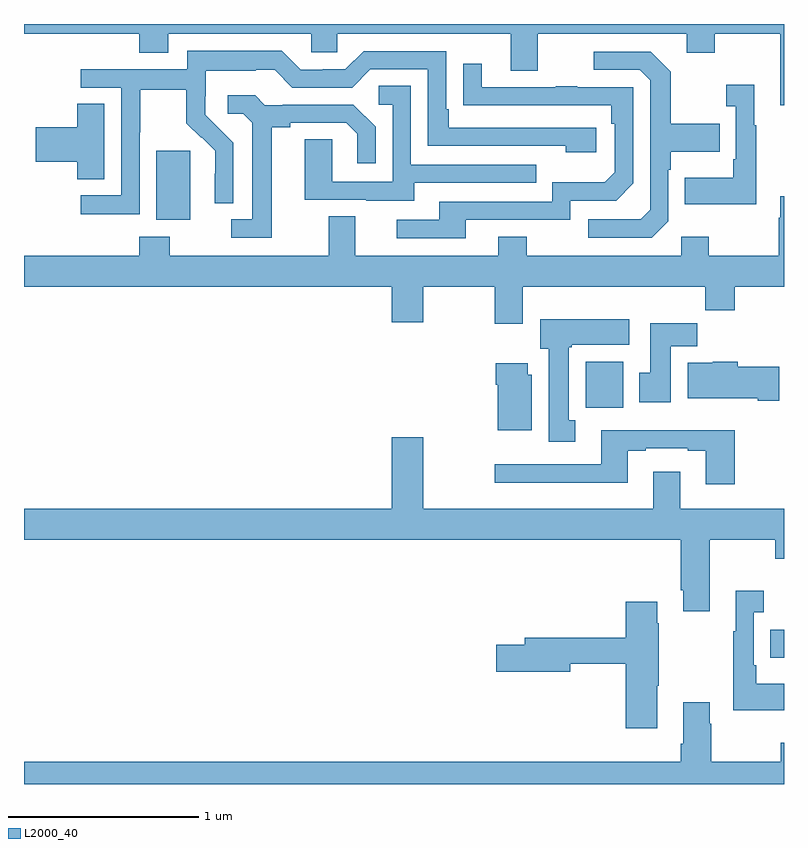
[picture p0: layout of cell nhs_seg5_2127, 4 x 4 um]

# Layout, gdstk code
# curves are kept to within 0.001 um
import gdstk
lib = gdstk.Library(unit=1e-6, precision=1e-09)
def R(c, l, rs):  # rectangles x0, y0, x1, y1
    for r in rs: c.add(gdstk.rectangle(r[:2], r[2:], *l))
def P(c, l, *ps):  # polygons
    for p in ps: c.add(gdstk.Polygon(p, *l))
L2000_40 = (2000, 40)

nhs_seg5_2127 = lib.new_cell('nhs_seg5_2127')
R(nhs_seg5_2127, L2000_40, [(238.927,865.463,239,865.611), (237.956,866.78,238.153,867.022), (235.697,867.77,235.876,868.131)])
P(nhs_seg5_2127, L2000_40, [(235,868.748),(235.607,868.748),(235.607,868.649),(235.759,868.649),(235.759,868.748),(236.511,868.748),(236.511,868.65),(236.649,868.65),(236.649,868.748),(237.563,868.748),(237.563,868.554),(237.703,868.554),(237.703,868.748),(238.487,868.748),(238.487,868.649),(238.635,868.649),(238.635,868.748),(238.979,868.748),(238.979,868.371),(239,868.371),(239,868.799),(235,868.799)],
  [(235.608,868.228),(235.611,868.228),(235.611,868.452),(235.855,868.452),(235.855,868.277),(235.932,868.2),(235.935,868.203),(236.006,868.133),(236.006,868.01),(236.004,868.01),(236.004,867.856),(236.1,867.856),(236.1,868.174),(235.954,868.322),(235.954,868.419),(235.956,868.419),(235.956,868.553),(236.219,868.553),(236.219,868.557),(236.319,868.557),(236.412,868.464),(236.727,868.464),(236.823,868.56),(237.126,868.56),(237.126,868.158),(237.851,868.158),(237.851,868.124),(238.012,868.124),(238.012,868.254),(237.235,868.254),(237.235,868.351),(237.222,868.351),(237.222,868.656),(236.787,868.656),(236.691,868.56),(236.573,868.56),(236.573,868.557),(236.457,868.557),(236.357,868.657),(235.86,868.657),(235.86,868.56),(235.299,868.56),(235.299,868.464),(235.512,868.464),(235.512,867.897),(235.299,867.897),(235.299,867.799),(235.608,867.799)],
  [(238.392,867.762),(238.392,868.031),(238.405,868.031),(238.405,868.127),(238.661,868.127),(238.661,868.275),(238.405,868.275),(238.405,868.547),(238.299,868.653),(237.999,868.653),(237.999,868.557),(238.242,868.557),(238.296,868.503),(238.296,867.822),(238.245,867.771),(237.969,867.771),(237.969,867.675),(238.305,867.675)],
  [(237.325,867.768),(237.876,867.768),(237.876,867.87),(238.116,867.87),(238.206,867.96),(238.206,868.467),(237.911,868.467),(237.911,868.472),(237.799,868.472),(237.799,868.467),(237.409,868.467),(237.409,868.591),(237.313,868.591),(237.313,868.372),(238.09,868.371),(238.09,868.274),(238.11,868.274),(238.11,868.02),(238.057,867.967),(237.78,867.967),(237.78,867.864),(237.185,867.864),(237.185,867.768),(236.961,867.768),(236.961,867.672),(237.325,867.672)],
  [(238.855,868.267),(238.843,868.267),(238.843,868.48),(238.695,868.48),(238.695,868.367),(238.746,868.367),(238.746,868.087),(238.734,868.087),(238.734,867.991),(238.477,867.991),(238.477,867.851),(238.855,867.851)],
  [(237.055,867.963),(237.695,867.963),(237.695,868.059),(237.036,868.059),(237.036,868.475),(236.868,868.475),(236.868,868.374),(236.94,868.374),(236.94,867.969),(236.622,867.969),(236.622,868.193),(236.477,868.193),(236.477,867.873),(236.801,867.873),(236.801,867.869),(237.055,867.869)],
  [(236.305,868.256),(236.401,868.256),(236.401,868.278),(236.696,868.278),(236.753,868.221),(236.753,868.065),(236.85,868.065),(236.85,868.258),(236.734,868.374),(236.362,868.374),(236.362,868.371),(236.268,868.371),(236.216,868.423),(236.073,868.423),(236.073,868.326),(236.154,868.326),(236.201,868.279),(236.201,867.771),(236.091,867.771),(236.091,867.675),(236.305,867.675)],
  [(235.423,868.379),(235.28,868.379),(235.28,868.256),(235.062,868.256),(235.062,868.073),(235.28,868.073),(235.28,867.982),(235.423,867.982)],
  [(237.625,867.416),(238.585,867.416),(238.585,867.292),(238.742,867.292),(238.742,867.416),(239,867.416),(239,867.892),(238.979,867.892),(238.979,867.779),(238.972,867.779),(238.972,867.58),(238.605,867.58),(238.605,867.679),(238.458,867.679),(238.458,867.58),(237.645,867.58),(237.645,867.679),(237.497,867.679),(237.497,867.58),(236.743,867.58),(236.743,867.788),(236.603,867.788),(236.603,867.58),(235.767,867.58),(235.767,867.679),(235.607,867.679),(235.607,867.58),(235,867.58),(235,867.416),(236.936,867.416),(236.936,867.228),(237.1,867.228),(237.1,867.416),(237.478,867.416),(237.478,867.222),(237.625,867.222)],
  [(237.901,866.714),(237.868,866.714),(237.868,867.097),(237.882,867.097),(237.882,867.11),(238.186,867.11),(238.186,867.244),(237.716,867.244),(237.716,867.09),(237.761,867.09),(237.761,866.601),(237.901,866.601)],
  [(238.405,867.104),(238.544,867.104),(238.544,867.223),(238.295,867.223),(238.295,866.964),(238.238,866.964),(238.238,866.808),(238.405,866.808)],
  [(238.975,866.994),(238.757,866.994),(238.757,867.022),(238.626,867.022),(238.626,867.016),(238.493,867.016),(238.493,866.828),(238.862,866.828),(238.862,866.816),(238.975,866.816)],
  [(237.673,866.952),(237.652,866.952),(237.652,867.013),(237.482,867.013),(237.482,866.9),(237.494,866.9),(237.494,866.66),(237.673,866.66)],
  [(238.742,866.662),(238.037,866.662),(238.037,866.481),(237.477,866.481),(237.477,866.384),(238.177,866.384),(238.177,866.553),(238.273,866.553),(238.273,866.565),(238.493,866.565),(238.493,866.553),(238.589,866.553),(238.589,866.376),(238.742,866.376)],
  [(238.609,866.084),(238.954,866.084),(238.954,865.985),(239,865.985),(239,866.248),(238.453,866.248),(238.453,866.443),(238.313,866.443),(238.313,866.248),(237.1,866.248),(237.1,866.623),(236.936,866.623),(236.936,866.248),(235,866.248),(235,866.084),(238.457,866.084),(238.457,865.819),(238.469,865.819),(238.469,865.707),(238.609,865.707)],
  [(239,865.327),(238.855,865.327),(238.855,865.423),(238.842,865.423),(238.842,865.703),(238.894,865.703),(238.894,865.816),(238.745,865.816),(238.745,865.603),(238.734,865.603),(238.734,865.187),(239,865.187)],
  [(238.333,865.315),(238.341,865.315),(238.341,865.646),(238.333,865.646),(238.333,865.759),(238.166,865.759),(238.166,865.568),(237.635,865.568),(237.635,865.532),(237.486,865.532),(237.486,865.39),(237.874,865.39),(237.874,865.432),(238.166,865.432),(238.166,865.092),(238.333,865.092)],
  [(239,865.015),(238.984,865.015),(238.984,864.916),(238.617,864.916),(238.617,865.115),(238.609,865.115),(238.609,865.228),(238.469,865.228),(238.469,865.012),(238.457,865.012),(238.457,864.916),(235,864.916),(235,864.799),(239,864.799)])

lib.write_gds('nhs_seg5_2127.gds')
